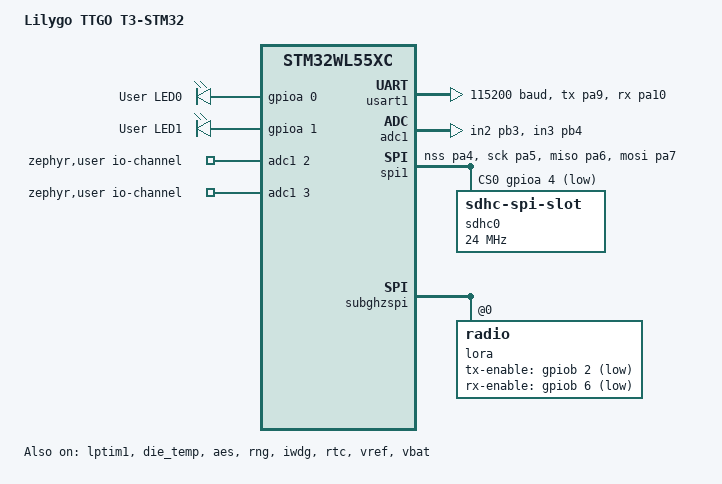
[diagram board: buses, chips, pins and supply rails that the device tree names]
/*
 * Copyright 2025 Lothar Felten <lothar.felten@gmail.com>
 *
 * SPDX-License-Identifier: Apache-2.0
 */

/dts-v1/;
#include <st/wl/stm32wl55Xc.dtsi>
#include <st/wl/stm32wl55jcix-pinctrl.dtsi>

/ {
	model = "Lilygo TTGO T3-STM32";
	compatible = "lilygo,ttgo-t3stm32";

	aliases {
		led0 = &red_led;
		led1 = &green_led;
		lora0 = &lora;
		watchdog0 = &iwdg;
		die-temp0 = &die_temp;
		volt-sensor0 = &vref;
		volt-sensor1 = &vbat;
	};

	chosen {
		zephyr,console = &usart1;
		zephyr,shell-uart = &usart1;
		zephyr,sram = &sram0;
		zephyr,flash = &flash0;
		zephyr,code-partition = &slot0_partition;
	};

	leds: leds {
		compatible = "gpio-leds";

		red_led: led-0 {
			gpios = <&gpioa 0 GPIO_ACTIVE_HIGH>;
			label = "User LED0";
		};

		green_led: led-1 {
			gpios = <&gpioa 1 GPIO_ACTIVE_HIGH>;
			label = "User LED1";
		};
	};

	zephyr,user {
		io-channels = <&adc1 2>, <&adc1 3>;
	};
};

&clk_lsi {
	status = "okay";
};

stm32_lp_tick_source: &lptim1 {
	clocks = <&rcc STM32_CLOCK_BUS_APB1 0x80000000>,
		 <&rcc STM32_SRC_LSI LPTIM1_SEL(1)>;
	status = "okay";
};

&clk_hsi {
	status = "okay";
};

&clk_lse {
	status = "okay";
};

&pll {
	div-m = <1>;
	mul-n = <6>;
	div-r = <2>;
	div-q = <2>;
	clocks = <&clk_hsi>;
	status = "okay";
};

&rcc {
	clocks = <&pll>;
	clock-frequency = <DT_FREQ_M(48)>;
	cpu1-prescaler = <1>;
	cpu2-prescaler = <1>;
	ahb3-prescaler = <1>;
	apb1-prescaler = <1>;
	apb2-prescaler = <1>;
};

&usart1 {
	pinctrl-0 = <&usart1_tx_pa9 &usart1_rx_pa10>;
	pinctrl-names = "default";
	current-speed = <115200>;
	status = "okay";
};

&die_temp {
	status = "okay";
};

&aes {
	status = "okay";
};

&rng {
	status = "okay";
};

&iwdg {
	status = "okay";
};

&adc1 {
	pinctrl-0 = <&adc_in2_pb3 &adc_in3_pb4>;
	pinctrl-names = "default";
	st,adc-clock-source = "SYNC";
	st,adc-prescaler = <4>;
	status = "okay";
};

&spi1 {
	pinctrl-0 = <&spi1_nss_pa4 &spi1_sck_pa5
		&spi1_miso_pa6 &spi1_mosi_pa7>;
	pinctrl-names = "default";

	status = "okay";
	cs-gpios = <&gpioa 4 GPIO_ACTIVE_LOW>;

	sdhc0: sdhc@0 {
		compatible = "zephyr,sdhc-spi-slot";
		reg = <0>;
		status = "okay";
		mmc {
			compatible = "zephyr,sdmmc-disk";
			disk-name = "SD";
			status = "okay";
		};
		spi-max-frequency = <24000000>;
	};
};

&subghzspi {
	status = "okay";

	lora: radio@0 {
		status = "okay";
		tx-enable-gpios = <&gpiob 2 GPIO_ACTIVE_LOW>; /* FE_CTRL1 */
		rx-enable-gpios = <&gpiob 6 GPIO_ACTIVE_LOW>; /* FE_CTRL2 */
		dio3-tcxo-voltage = <SX126X_DIO3_TCXO_1V7>;
		tcxo-power-startup-delay-ms = <5>;
		/* High-power output is selected as a consequence of using
		 * tx/rx-enable-gpio to control FE_CTRL1 and FE_CTRL2. Low-power
		 * output would require both FE_CTRL1 and FE_CTRL2 to be high,
		 * which is not currently supported by the driver.
		 */
		power-amplifier-output = "rfo-hp";
		rfo-lp-max-power = <15>;
		rfo-hp-max-power = <22>;
	};
};

&flash0 {
	partitions {
		compatible = "fixed-partitions";
		#address-cells = <1>;
		#size-cells = <1>;

		boot_partition: partition@0 {
			label = "mcuboot";
			reg = <0x00000000 DT_SIZE_K(32)>;
			read-only;
		};

		slot0_partition: partition@8000 {
			label = "image-0";
			reg = <0x00008000 DT_SIZE_K(104)>;
		};

		slot1_partition: partition@22000 {
			label = "image-1";
			reg = <0x00022000 DT_SIZE_K(104)>;
		};

		/*
		 * Set 16kB of storage (8x2kB pages) at the end of the 256kB of
		 * flash.
		 */
		storage_partition: partition@3c000 {
			label = "storage";
			reg = <0x0003c000 DT_SIZE_K(16)>;
		};
	};
};

&rtc {
	clocks = <&rcc STM32_CLOCK_BUS_APB1 0x00000400>,
		 <&rcc STM32_SRC_LSE RTC_SEL(1)>;
	status = "okay";
};

&vref {
	status = "okay";
};

&vbat {
	status = "okay";
};
